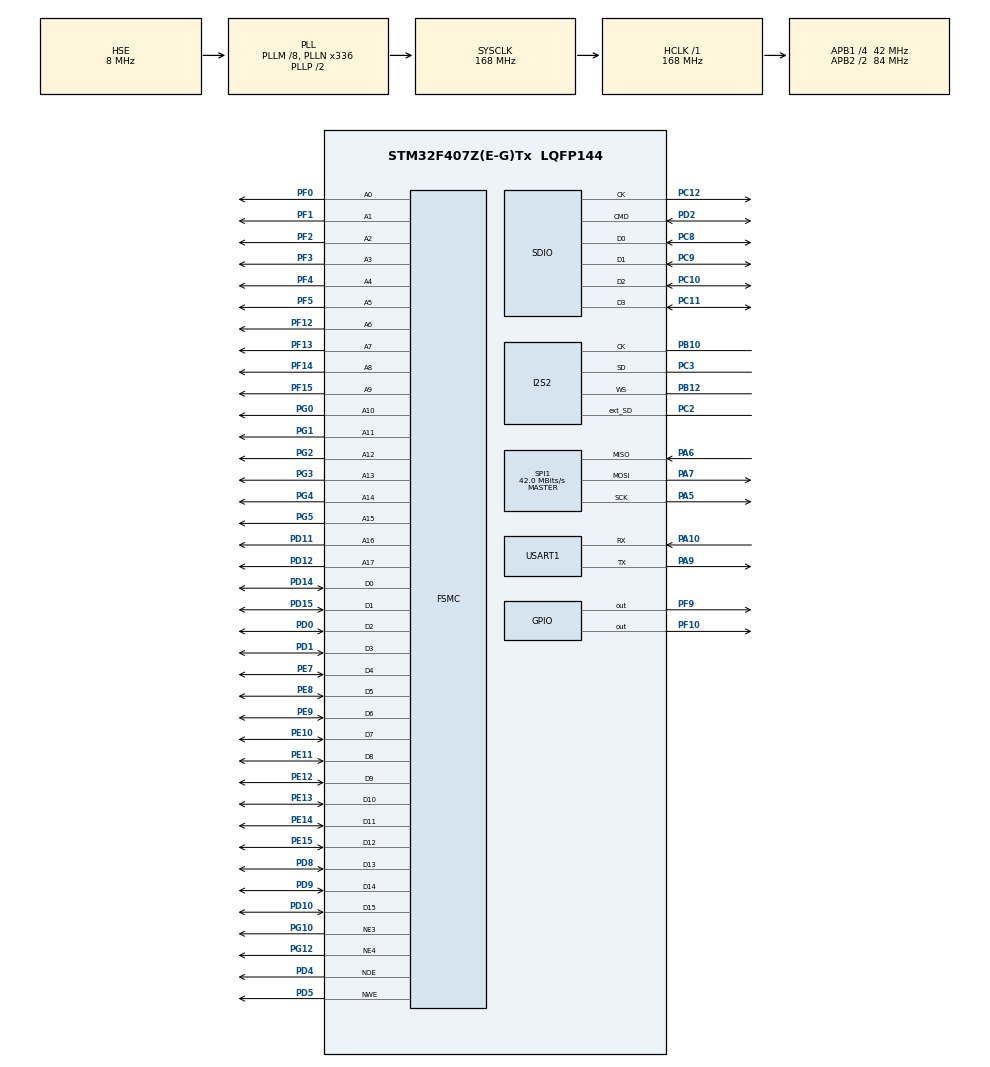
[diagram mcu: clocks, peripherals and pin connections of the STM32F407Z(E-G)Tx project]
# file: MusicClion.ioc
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Dma.Request0=USART1_RX
Dma.Request1=USART1_TX
Dma.Request2=SDIO_RX
Dma.Request3=SDIO_TX
Dma.Request4=SPI2_TX
Dma.SDIO_RX.2.Direction=DMA_PERIPH_TO_MEMORY
Dma.SDIO_RX.2.FIFOMode=DMA_FIFOMODE_ENABLE
Dma.SDIO_RX.2.FIFOThreshold=DMA_FIFO_THRESHOLD_FULL
Dma.SDIO_RX.2.Instance=DMA2_Stream3
Dma.SDIO_RX.2.MemBurst=DMA_MBURST_INC4
Dma.SDIO_RX.2.MemDataAlignment=DMA_MDATAALIGN_WORD
Dma.SDIO_RX.2.MemInc=DMA_MINC_ENABLE
Dma.SDIO_RX.2.Mode=DMA_PFCTRL
Dma.SDIO_RX.2.PeriphBurst=DMA_PBURST_INC4
Dma.SDIO_RX.2.PeriphDataAlignment=DMA_PDATAALIGN_WORD
Dma.SDIO_RX.2.PeriphInc=DMA_PINC_DISABLE
Dma.SDIO_RX.2.Priority=DMA_PRIORITY_LOW
Dma.SDIO_TX.3.Direction=DMA_MEMORY_TO_PERIPH
Dma.SDIO_TX.3.FIFOMode=DMA_FIFOMODE_ENABLE
Dma.SDIO_TX.3.FIFOThreshold=DMA_FIFO_THRESHOLD_FULL
Dma.SDIO_TX.3.Instance=DMA2_Stream6
Dma.SDIO_TX.3.MemBurst=DMA_MBURST_INC4
Dma.SDIO_TX.3.MemDataAlignment=DMA_MDATAALIGN_WORD
Dma.SDIO_TX.3.MemInc=DMA_MINC_ENABLE
Dma.SDIO_TX.3.Mode=DMA_PFCTRL
Dma.SDIO_TX.3.PeriphBurst=DMA_PBURST_INC4
Dma.SDIO_TX.3.PeriphDataAlignment=DMA_PDATAALIGN_WORD
Dma.SDIO_TX.3.PeriphInc=DMA_PINC_DISABLE
Dma.SDIO_TX.3.Priority=DMA_PRIORITY_LOW
Dma.SPI2_TX.4.Direction=DMA_MEMORY_TO_PERIPH
Dma.SPI2_TX.4.FIFOMode=DMA_FIFOMODE_DISABLE
Dma.SPI2_TX.4.Instance=DMA1_Stream4
Dma.SPI2_TX.4.MemDataAlignment=DMA_MDATAALIGN_BYTE
Dma.SPI2_TX.4.MemInc=DMA_MINC_ENABLE
Dma.SPI2_TX.4.Mode=DMA_NORMAL
Dma.SPI2_TX.4.PeriphDataAlignment=DMA_PDATAALIGN_BYTE
Dma.SPI2_TX.4.PeriphInc=DMA_PINC_DISABLE
Dma.SPI2_TX.4.Priority=DMA_PRIORITY_LOW
Dma.USART1_RX.0.Direction=DMA_PERIPH_TO_MEMORY
Dma.USART1_RX.0.FIFOMode=DMA_FIFOMODE_DISABLE
Dma.USART1_RX.0.Instance=DMA2_Stream2
Dma.USART1_RX.0.MemDataAlignment=DMA_MDATAALIGN_BYTE
Dma.USART1_RX.0.MemInc=DMA_MINC_ENABLE
Dma.USART1_RX.0.Mode=DMA_NORMAL
Dma.USART1_RX.0.PeriphDataAlignment=DMA_PDATAALIGN_BYTE
Dma.USART1_RX.0.PeriphInc=DMA_PINC_DISABLE
Dma.USART1_RX.0.Priority=DMA_PRIORITY_LOW
Dma.USART1_TX.1.Direction=DMA_MEMORY_TO_PERIPH
Dma.USART1_TX.1.FIFOMode=DMA_FIFOMODE_DISABLE
Dma.USART1_TX.1.Instance=DMA2_Stream7
Dma.USART1_TX.1.MemDataAlignment=DMA_MDATAALIGN_BYTE
Dma.USART1_TX.1.MemInc=DMA_MINC_ENABLE
Dma.USART1_TX.1.Mode=DMA_NORMAL
Dma.USART1_TX.1.PeriphDataAlignment=DMA_PDATAALIGN_BYTE
Dma.USART1_TX.1.PeriphInc=DMA_PINC_DISABLE
Dma.USART1_TX.1.Priority=DMA_PRIORITY_LOW
FATFS.USE_DMA_CODE_SD=1
FATFS._CODE_PAGE=936
FATFS._USE_LFN=2
FREERTOS.Events01=MusicStaute,Dynamic,NULL
FREERTOS.Tasks01=MusicPlay,24,1024,MusicPlayTask,Default,NULL,Dynamic,NULL,NULL;KeyScan,20,64,KeyScanTask,Default,NULL,Dynamic,NULL,NULL;lvglUpdata,23,512,lvglUpdataTask,Default,NULL,Dynamic,NULL,NULL;appUpdata,8,1024,appUpdataTask,Default,NULL,Dynamic,NULL,NULL
FREERTOS.configMINIMAL_STACK_SIZE=64
FREERTOS.configTOTAL_HEAP_SIZE=15360
FSMC.AddressSetupTime2=1
FSMC.DataSetupTime2=3
I2S2.AudioFreq=I2S_AUDIOFREQ_32K
I2S2.ErrorAudioFreq=-0.26 %
I2S2.FullDuplexMode=I2S_FULLDUPLEXMODE_ENABLE
I2S2.Instance=SPI$Index
I2S2.RealAudioFreq=31.914 KHz
I2S2.VirtualMode=I2S_MODE_MASTER
Mcu.Family=STM32F4
Mcu.Name=STM32F407Z(E-G)Tx
Mcu.Package=LQFP144
NVIC.DMA1_Stream4_IRQn=true\:5\:0\:false\:false\:true\:true\:false\:true\:true
NVIC.DMA2_Stream2_IRQn=true\:5\:0\:false\:false\:true\:true\:false\:true\:true
NVIC.DMA2_Stream3_IRQn=true\:5\:0\:false\:false\:true\:true\:false\:true\:true
NVIC.DMA2_Stream6_IRQn=true\:5\:0\:false\:false\:true\:true\:false\:true\:true
NVIC.DMA2_Stream7_IRQn=true\:5\:0\:false\:false\:true\:true\:false\:true\:true
NVIC.PriorityGroup=NVIC_PRIORITYGROUP_4
NVIC.SDIO_IRQn=true\:5\:0\:false\:false\:true\:true\:true\:true\:true
NVIC.SPI2_IRQn=true\:5\:0\:false\:false\:true\:true\:true\:true\:true
NVIC.TIM6_DAC_IRQn=true\:15\:0\:false\:false\:true\:false\:false\:true\:true
NVIC.TimeBase=TIM6_DAC_IRQn
NVIC.TimeBaseIP=TIM6
NVIC.USART1_IRQn=true\:5\:0\:false\:false\:true\:true\:true\:true\:true
PA10.Mode=Asynchronous
PA10.Signal=USART1_RX
PA13.Mode=Serial_Wire
PA13.Signal=SYS_JTMS-SWDIO
PA14.Mode=Serial_Wire
PA14.Signal=SYS_JTCK-SWCLK
PA5.Mode=Full_Duplex_Master
PA5.Signal=SPI1_SCK
PA6.Mode=Full_Duplex_Master
PA6.Signal=SPI1_MISO
PA7.Mode=Full_Duplex_Master
PA7.Signal=SPI1_MOSI
PA9.Mode=Asynchronous
PA9.Signal=USART1_TX
PB10.Mode=Full_Duplex_Master
PB10.Signal=I2S2_CK
PB12.Mode=Full_Duplex_Master
PB12.Signal=I2S2_WS
PC10.Mode=SD_4_bits_Wide_bus
PC10.Signal=SDIO_D2
PC11.Mode=SD_4_bits_Wide_bus
PC11.Signal=SDIO_D3
PC12.Mode=SD_4_bits_Wide_bus
PC12.Signal=SDIO_CK
PC14-OSC32_IN.Mode=LSE-External-Oscillator
PC14-OSC32_IN.Signal=RCC_OSC32_IN
PC15-OSC32_OUT.Mode=LSE-External-Oscillator
PC15-OSC32_OUT.Signal=RCC_OSC32_OUT
PC2.Mode=Full_Duplex_Master
PC2.Signal=I2S2_ext_SD
PC3.Mode=Full_Duplex_Master
PC3.Signal=I2S2_SD
PC8.Mode=SD_4_bits_Wide_bus
PC8.Signal=SDIO_D0
PC9.Mode=SD_4_bits_Wide_bus
PC9.Signal=SDIO_D1
PD0.Signal=FSMC_D2_DA2
PD1.Signal=FSMC_D3_DA3
PD10.Signal=FSMC_D15_DA15
PD11.Signal=FSMC_A16_CLE
PD12.Signal=FSMC_A17_ALE
PD14.Signal=FSMC_D0_DA0
PD15.Signal=FSMC_D1_DA1
PD2.Mode=SD_4_bits_Wide_bus
PD2.Signal=SDIO_CMD
PD4.Signal=FSMC_NOE
PD5.Signal=FSMC_NWE
PD8.Signal=FSMC_D13_DA13
PD9.Signal=FSMC_D14_DA14
PE10.Signal=FSMC_D7_DA7
PE11.Signal=FSMC_D8_DA8
PE12.Signal=FSMC_D9_DA9
PE13.Signal=FSMC_D10_DA10
PE14.Signal=FSMC_D11_DA11
PE15.Signal=FSMC_D12_DA12
PE7.Signal=FSMC_D4_DA4
PE8.Signal=FSMC_D5_DA5
PE9.Signal=FSMC_D6_DA6
PF0.Signal=FSMC_A0
PF1.Signal=FSMC_A1
PF10.Signal=GPIO_Output
PF12.Signal=FSMC_A6
PF13.Signal=FSMC_A7
PF14.Signal=FSMC_A8
PF15.Signal=FSMC_A9
PF2.Signal=FSMC_A2
PF3.Signal=FSMC_A3
PF4.Signal=FSMC_A4
PF5.Signal=FSMC_A5
PF9.Signal=GPIO_Output
PG0.Signal=FSMC_A10
PG1.Signal=FSMC_A11
PG10.Mode=NorPsramChipSelect3_2
PG10.Signal=FSMC_NE3
PG12.Mode=NorPsramChipSelect4_1
PG12.Signal=FSMC_NE4
PG2.Signal=FSMC_A12
PG3.Signal=FSMC_A13
PG4.Signal=FSMC_A14
PG5.Signal=FSMC_A15
PH0-OSC_IN.Mode=HSE-External-Oscillator
PH0-OSC_IN.Signal=RCC_OSC_IN
PH1-OSC_OUT.Mode=HSE-External-Oscillator
PH1-OSC_OUT.Signal=RCC_OSC_OUT
ProjectManager.HeapSize=0x1000
ProjectManager.StackSize=0x1000
ProjectManager.TargetToolchain=STM32CubeIDE
RCC.48MHZClocksFreq_Value=48000000
RCC.AHBFreq_Value=168000000
RCC.APB1CLKDivider=RCC_HCLK_DIV4
RCC.APB1Freq_Value=42000000
RCC.APB1TimFreq_Value=84000000
RCC.APB2CLKDivider=RCC_HCLK_DIV2
RCC.APB2Freq_Value=84000000
RCC.APB2TimFreq_Value=168000000
RCC.CortexFreq_Value=168000000
RCC.HCLKFreq_Value=168000000
RCC.HSE_VALUE=8000000
RCC.HSI_VALUE=16000000
RCC.PLLM=8
RCC.PLLN=336
RCC.PLLQ=7
RCC.PLLSourceVirtual=RCC_PLLSOURCE_HSE
RCC.SYSCLKFreq_VALUE=168000000
RCC.SYSCLKSource=RCC_SYSCLKSOURCE_PLLCLK
RCC.VCOOutputFreq_Value=336000000
SH.FSMC_A0.0=FSMC_A0,18b-a2
SH.FSMC_A1.0=FSMC_A1,18b-a2
SH.FSMC_A10.0=FSMC_A10,18b-a2
SH.FSMC_A11.0=FSMC_A11,18b-a2
SH.FSMC_A12.0=FSMC_A12,18b-a2
SH.FSMC_A13.0=FSMC_A13,18b-a2
SH.FSMC_A14.0=FSMC_A14,18b-a2
SH.FSMC_A15.0=FSMC_A15,18b-a2
SH.FSMC_A16_CLE.0=FSMC_A16,18b-a2
SH.FSMC_A17_ALE.0=FSMC_A17,18b-a2
SH.FSMC_A2.0=FSMC_A2,18b-a2
SH.FSMC_A3.0=FSMC_A3,18b-a2
SH.FSMC_A4.0=FSMC_A4,18b-a2
SH.FSMC_A5.0=FSMC_A5,18b-a2
SH.FSMC_A6.0=FSMC_A6,A6_1
SH.FSMC_A6.1=FSMC_A6,18b-a2
SH.FSMC_A7.0=FSMC_A7,18b-a2
SH.FSMC_A8.0=FSMC_A8,18b-a2
SH.FSMC_A9.0=FSMC_A9,18b-a2
SH.FSMC_D0_DA0.0=FSMC_D0,16b-d1
SH.FSMC_D0_DA0.1=FSMC_D0,16b-d2
SH.FSMC_D10_DA10.0=FSMC_D10,16b-d1
SH.FSMC_D10_DA10.1=FSMC_D10,16b-d2
SH.FSMC_D11_DA11.0=FSMC_D11,16b-d1
SH.FSMC_D11_DA11.1=FSMC_D11,16b-d2
SH.FSMC_D12_DA12.0=FSMC_D12,16b-d1
SH.FSMC_D12_DA12.1=FSMC_D12,16b-d2
SH.FSMC_D13_DA13.0=FSMC_D13,16b-d1
SH.FSMC_D13_DA13.1=FSMC_D13,16b-d2
SH.FSMC_D14_DA14.0=FSMC_D14,16b-d1
SH.FSMC_D14_DA14.1=FSMC_D14,16b-d2
SH.FSMC_D15_DA15.0=FSMC_D15,16b-d1
SH.FSMC_D15_DA15.1=FSMC_D15,16b-d2
SH.FSMC_D1_DA1.0=FSMC_D1,16b-d1
SH.FSMC_D1_DA1.1=FSMC_D1,16b-d2
SH.FSMC_D2_DA2.0=FSMC_D2,16b-d1
SH.FSMC_D2_DA2.1=FSMC_D2,16b-d2
SH.FSMC_D3_DA3.0=FSMC_D3,16b-d1
SH.FSMC_D3_DA3.1=FSMC_D3,16b-d2
SH.FSMC_D4_DA4.0=FSMC_D4,16b-d1
SH.FSMC_D4_DA4.1=FSMC_D4,16b-d2
SH.FSMC_D5_DA5.0=FSMC_D5,16b-d1
SH.FSMC_D5_DA5.1=FSMC_D5,16b-d2
SH.FSMC_D6_DA6.0=FSMC_D6,16b-d1
SH.FSMC_D6_DA6.1=FSMC_D6,16b-d2
SH.FSMC_D7_DA7.0=FSMC_D7,16b-d1
SH.FSMC_D7_DA7.1=FSMC_D7,16b-d2
SH.FSMC_D8_DA8.0=FSMC_D8,16b-d1
SH.FSMC_D8_DA8.1=FSMC_D8,16b-d2
SH.FSMC_D9_DA9.0=FSMC_D9,16b-d1
SH.FSMC_D9_DA9.1=FSMC_D9,16b-d2
SH.FSMC_NOE.0=FSMC_NOE,Lcd1
SH.FSMC_NOE.1=FSMC_NOE,Sram2
SH.FSMC_NWE.0=FSMC_NWE,Lcd1
SH.FSMC_NWE.1=FSMC_NWE,Sram2
SPI1.CalculateBaudRate=42.0 MBits/s
SPI1.Direction=SPI_DIRECTION_2LINES
SPI1.Mode=SPI_MODE_MASTER
SPI1.VirtualType=VM_MASTER
USART1.VirtualMode=VM_ASYNC
VP_FATFS_VS_SDIO.Mode=SDIO
VP_FREERTOS_VS_CMSIS_V2.Mode=CMSIS_V2
VP_RNG_VS_RNG.Mode=RNG_Activate
VP_RTC_VS_RTC_Activate.Mode=RTC_Enabled
VP_RTC_VS_RTC_Calendar.Mode=RTC_Calendar
VP_SYS_VS_tim6.Mode=TIM6
board=custom

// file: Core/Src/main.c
/* USER CODE BEGIN Header */
/**
  ******************************************************************************
  * @file           : main.c
  * @brief          : Main program body
  ******************************************************************************
  * @attention
  *
  * Copyright (c) 2024 STMicroelectronics.
  * All rights reserved.
  *
  * This software is licensed under terms that can be found in the LICENSE file
  * in the root directory of this software component.
  * If no LICENSE file comes with this software, it is provided AS-IS.
  *
  ******************************************************************************
  */
/* USER CODE END Header */
#include "main.h"
#include "cmsis_os.h"
#include "dma.h"
#include "fatfs.h"
#include "i2s.h"
#include "rng.h"
#include "rtc.h"
#include "sdio.h"
#include "spi.h"
#include "usart.h"
#include "gpio.h"
#include "fsmc.h"

/* USER CODE BEGIN Includes */
#include "stdio.h"
#include "Bradge.h"
//#include "lvgl.h"
//#include "lv_port_disp.h"
//#include "lv_port_indev.h"
/* USER CODE END Includes */

void SystemClock_Config(void);
void MX_FREERTOS_Init(void);
/* USER CODE BEGIN PFP */
uint8_t __io_putchar(int ch)
{
    uint8_t temp[1]={ch};
    HAL_UART_Transmit(&huart1,temp,1,2);
    return(ch);
}

uint8_t _write(int file, char *ptr,int len)
{
    int DataIdx;
    for(DataIdx = 0; DataIdx < len; DataIdx++)
    {
        __io_putchar(*ptr++);
    }
    return len;
}
/* USER CODE END PFP */

/* USER CODE BEGIN 0 */
HAL_SD_CardInfoTypeDef SDCardInfo;
void show_sd_info()
{
    uint64_t Cardcap;
    HAL_SD_CardCIDTypeDef SDCardCID;
    HAL_SD_GetCardCID(&hsd,&SDCardCID);	//获取CID
    HAL_SD_GetCardInfo(&hsd,&SDCardInfo);					//获取SD卡信�?
    switch(SDCardInfo.CardType)
    {
        case CARD_SDSC:
        {
            if(SDCardInfo.CardVersion == CARD_V1_X)
                printf("Card Type:SDSC V1\r\n");
            else if(SDCardInfo.CardVersion == CARD_V2_X)
                printf("Card Type:SDSC V2\r\n");
        }
            break;
        case CARD_SDHC_SDXC:printf("Card Type:SDHC\r\n");break;
    }
    Cardcap=(uint64_t)(SDCardInfo.LogBlockNbr)*(uint64_t)(SDCardInfo.LogBlockSize);	//计算SD卡容�?
    printf("Card ManufacturerID:%d\r\n",SDCardCID.ManufacturerID);					//制�?�商ID
    printf("Card RCA:%d\r\n",SDCardInfo.RelCardAdd);								//卡相对地�?
    printf("LogBlockNbr:%d \r\n",(uint32_t)(SDCardInfo.LogBlockNbr));					//显示逻辑块数�?
    printf("LogBlockSize:%d \r\n",(uint32_t)(SDCardInfo.LogBlockSize));					//显示逻辑块大�?
    printf("Card Capacity:%d MB\r\n",(uint32_t)(Cardcap>>20));							//显示容量
    printf("Card BlockSize:%d\r\n\r\n",SDCardInfo.BlockSize);

}

/* USER CODE END 0 */

int main(void)
{

  /* MCU Configuration--------------------------------------------------------*/

  /* Reset of all peripherals, Initializes the Flash interface and the Systick. */
  HAL_Init();

  /* Configure the system clock */
  SystemClock_Config();

  /* Initialize all configured peripherals */
  MX_GPIO_Init();
  MX_DMA_Init();
  MX_USART1_UART_Init();
  MX_SDIO_SD_Init();
  MX_FSMC_Init();
  MX_FATFS_Init();
  MX_I2S2_Init();
  MX_RNG_Init();
  MX_RTC_Init();
  MX_SPI1_Init();
  /* USER CODE BEGIN 2 */
//    HAL_I2S_MspDeInit(&hi2s2);
//    lv_init();
//    lv_port_disp_init();
//    lv_port_indev_init();

    setup();

  /* USER CODE END 2 */

  /* Init scheduler */
  osKernelInitialize();  /* Call init function for freertos objects (in freertos.c) */
  MX_FREERTOS_Init();

  /* Start scheduler */
  osKernelStart();

  /* We should never get here as control is now taken by the scheduler */
  /* Infinite loop */
  /* USER CODE BEGIN WHILE */
  while (1)
  {
      loop();
    /* USER CODE END WHILE */

  }
}

void SystemClock_Config(void)
{
  RCC_OscInitTypeDef RCC_OscInitStruct = {0};
  RCC_ClkInitTypeDef RCC_ClkInitStruct = {0};

  /** Configure the main internal regulator output voltage
  */
  __HAL_RCC_PWR_CLK_ENABLE();
  __HAL_PWR_VOLTAGESCALING_CONFIG(PWR_REGULATOR_VOLTAGE_SCALE1);

  /** Initializes the RCC Oscillators according to the specified parameters
  * in the RCC_OscInitTypeDef structure.
  */
  RCC_OscInitStruct.OscillatorType = RCC_OSCILLATORTYPE_LSI|RCC_OSCILLATORTYPE_HSE;
  RCC_OscInitStruct.HSEState = RCC_HSE_ON;
  RCC_OscInitStruct.LSIState = RCC_LSI_ON;
  RCC_OscInitStruct.PLL.PLLState = RCC_PLL_ON;
  RCC_OscInitStruct.PLL.PLLSource = RCC_PLLSOURCE_HSE;
  RCC_OscInitStruct.PLL.PLLM = 8;
  RCC_OscInitStruct.PLL.PLLN = 336;
  RCC_OscInitStruct.PLL.PLLP = RCC_PLLP_DIV2;
  RCC_OscInitStruct.PLL.PLLQ = 7;
  if (HAL_RCC_OscConfig(&RCC_OscInitStruct) != HAL_OK)
  {
    Error_Handler();
  }

  /** Initializes the CPU, AHB and APB buses clocks
  */
  RCC_ClkInitStruct.ClockType = RCC_CLOCKTYPE_HCLK|RCC_CLOCKTYPE_SYSCLK
                              |RCC_CLOCKTYPE_PCLK1|RCC_CLOCKTYPE_PCLK2;
  RCC_ClkInitStruct.SYSCLKSource = RCC_SYSCLKSOURCE_PLLCLK;
  RCC_ClkInitStruct.AHBCLKDivider = RCC_SYSCLK_DIV1;
  RCC_ClkInitStruct.APB1CLKDivider = RCC_HCLK_DIV4;
  RCC_ClkInitStruct.APB2CLKDivider = RCC_HCLK_DIV2;

  if (HAL_RCC_ClockConfig(&RCC_ClkInitStruct, FLASH_LATENCY_5) != HAL_OK)
  {
    Error_Handler();
  }
}

/* USER CODE BEGIN 4 */
//void HAL_TIM_PeriodElapsedCallback(TIM_HandleTypeDef *htim){
//    if (htim->Instance==TIM6){
//        lv_tick_inc(1);
//    }
//}
/* USER CODE END 4 */

void HAL_TIM_PeriodElapsedCallback(TIM_HandleTypeDef *htim)
{
  if (htim->Instance == TIM6) {
    HAL_IncTick();
  }
}

void Error_Handler(void)
{
  __disable_irq();
  while (1)
  {
  }
}

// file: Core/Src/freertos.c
/* USER CODE BEGIN Header */
/**
  ******************************************************************************
  * File Name          : freertos.c
  * Description        : Code for freertos applications
  ******************************************************************************
  * @attention
  *
  * Copyright (c) 2024 STMicroelectronics.
  * All rights reserved.
  *
  * This software is licensed under terms that can be found in the LICENSE file
  * in the root directory of this software component.
  * If no LICENSE file comes with this software, it is provided AS-IS.
  *
  ******************************************************************************
  */
/* USER CODE END Header */

#include "FreeRTOS.h"
#include "task.h"
#include "main.h"
#include "cmsis_os.h"

/* USER CODE BEGIN Includes */
#include "StatusList.h"
#include "stdio.h"
#include "OSTask.h"
#include "key.h"
#include "lvgl.h"
#include "lv_port_indev.h"
#include "lv_port_disp.h"
#include "ui.h"
/* USER CODE END Includes */

/* Definitions for MusicPlay */
osThreadId_t MusicPlayHandle;
const osThreadAttr_t MusicPlay_attributes = {
  .name = "MusicPlay",
  .stack_size = 1024 * 4,
  .priority = (osPriority_t) osPriorityNormal,
};
/* Definitions for KeyScan */
osThreadId_t KeyScanHandle;
const osThreadAttr_t KeyScan_attributes = {
  .name = "KeyScan",
  .stack_size = 64 * 4,
  .priority = (osPriority_t) osPriorityBelowNormal4,
};
/* Definitions for lvglUpdata */
osThreadId_t lvglUpdataHandle;
const osThreadAttr_t lvglUpdata_attributes = {
  .name = "lvglUpdata",
  .stack_size = 512 * 4,
  .priority = (osPriority_t) osPriorityBelowNormal7,
};
/* Definitions for appUpdata */
osThreadId_t appUpdataHandle;
const osThreadAttr_t appUpdata_attributes = {
  .name = "appUpdata",
  .stack_size = 1024 * 8,
  .priority = (osPriority_t) osPriorityBelowNormal6,
};
/* Definitions for MusicStaute */
osEventFlagsId_t MusicStauteHandle;
const osEventFlagsAttr_t MusicStaute_attributes = {
  .name = "MusicStaute"
};

void MusicPlayTask(void *argument);
void KeyScanTask(void *argument);
void lvglUpdataTask(void *argument);
void appUpdataTask(void *argument);

void MX_FREERTOS_Init(void); /* (MISRA C 2004 rule 8.1) */

void MX_FREERTOS_Init(void) {

  /* Create the thread(s) */
  /* creation of MusicPlay */
  MusicPlayHandle = osThreadNew(MusicPlayTask, NULL, &MusicPlay_attributes);

  /* creation of KeyScan */
  KeyScanHandle = osThreadNew(KeyScanTask, NULL, &KeyScan_attributes);

  /* creation of lvglUpdata */
  lvglUpdataHandle = osThreadNew(lvglUpdataTask, NULL, &lvglUpdata_attributes);

  /* creation of appUpdata */
  appUpdataHandle = osThreadNew(appUpdataTask, NULL, &appUpdata_attributes);

  /* Create the event(s) */
  /* creation of MusicStaute */
  MusicStauteHandle = osEventFlagsNew(&MusicStaute_attributes);

}

void MusicPlayTask(void *argument)
{
  /* USER CODE BEGIN MusicPlayTask */
  /* Infinite loop */
  Music();
//    while (1){
//        osDelay(8);
//    }
  /* USER CODE END MusicPlayTask */
}

void KeyScanTask(void *argument)
{
  /* USER CODE BEGIN KeyScanTask */

  /* Infinite loop */
  memoryRes();
  /* USER CODE END KeyScanTask */
}

void lvglUpdataTask(void *argument)
{
  /* USER CODE BEGIN lvglUpdataTask */
  /* Infinite loop */
  for(;;)
  {
        lv_task_handler();
        osDelay(5);
  }
  /* USER CODE END lvglUpdataTask */
}

void appUpdataTask(void *argument)
{
  /* USER CODE BEGIN appUpdataTask */
  /* Infinite loop */
//    lv_init();
//    lv_port_disp_init();
//    lv_port_indev_init();
//    lv_fs_fatfs_init();
//    ui_Screen1_screen_init(lv_obj_create(NULL));
//    ui_Music_page_init(lv_scr_act());
//    while (1){
//        osDelay(6);
//    }
 APPManagerUpData();
  /* USER CODE END appUpdataTask */
}
